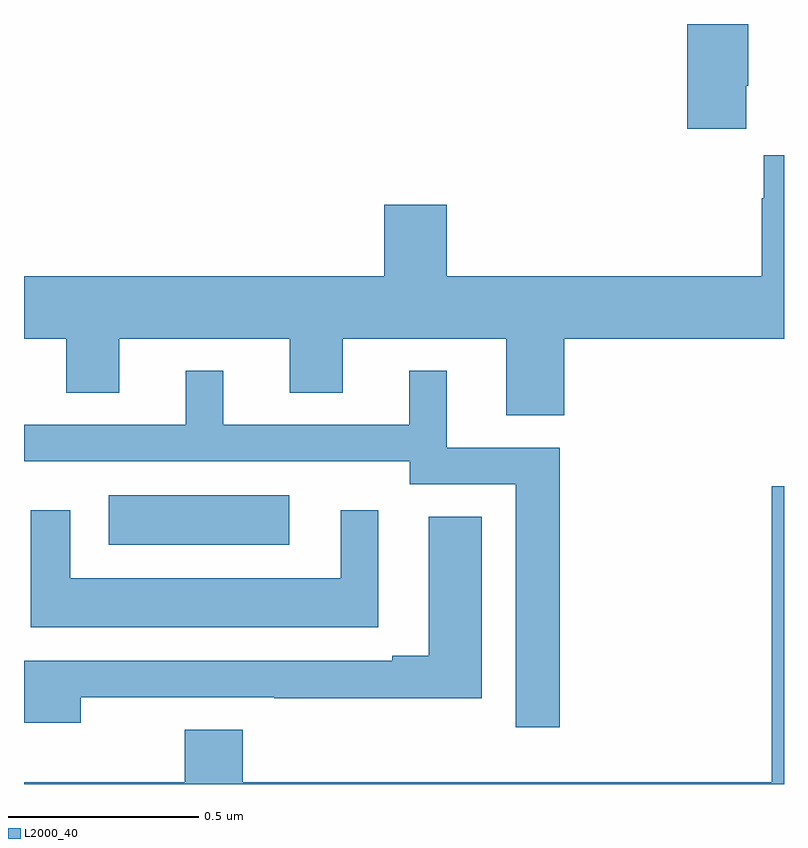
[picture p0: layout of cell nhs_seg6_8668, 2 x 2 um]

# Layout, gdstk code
import gdstk
lib = gdstk.Library(unit=1e-6, precision=1e-09)
def R(c, l, rs):  # rectangles x0, y0, x1, y1
    for r in rs: c.add(gdstk.rectangle(r[:2], r[2:], *l))
def P(c, l, *ps):  # polygons
    for p in ps: c.add(gdstk.Polygon(p, *l))
L2000_40 = (2000, 40)

nhs_seg6_8668 = lib.new_cell('nhs_seg6_8668')
R(nhs_seg6_8668, L2000_40, [(224.223,944.129,224.698,944.26)])
P(nhs_seg6_8668, L2000_40, [(225.901,945.337),(225.906,945.337),(225.906,945.5),(225.746,945.5),(225.746,945.225),(225.901,945.225)],
  [(225.422,944.672),(226,944.672),(226,945.154),(225.947,945.154),(225.947,945.041),(225.941,945.041),(225.941,944.836),(225.112,944.836),(225.112,945.025),(224.948,945.025),(224.948,944.836),(224,944.836),(224,944.672),(224.111,944.672),(224.111,944.53),(224.251,944.53),(224.251,944.672),(224.699,944.672),(224.699,944.53),(224.839,944.53),(224.839,944.672),(225.269,944.672),(225.269,944.47),(225.422,944.47)],
  [(225.41,944.385),(225.112,944.385),(225.112,944.587),(225.014,944.587),(225.014,944.445),(224.524,944.445),(224.524,944.587),(224.426,944.587),(224.426,944.445),(224,944.445),(224,944.349),(225.015,944.349),(225.015,944.289),(225.294,944.289),(225.294,943.65),(225.41,943.65)],
  [(226,944.284),(225.968,944.284),(225.968,943.504),(224.576,943.504),(224.576,943.643),(224.423,943.643),(224.423,943.504),(224,943.504),(224,943.5),(226,943.5)],
  [(224.932,944.221),(224.834,944.221),(224.834,944.041),(224.122,944.041),(224.122,944.221),(224.018,944.221),(224.018,943.913),(224.932,943.913)],
  [(224.149,943.728),(224.659,943.728),(224.659,943.726),(225.205,943.726),(225.205,944.203),(225.065,944.203),(225.065,943.837),(224.969,943.837),(224.969,943.824),(224,943.824),(224,943.661),(224.149,943.661)])

lib.write_gds('nhs_seg6_8668.gds')
